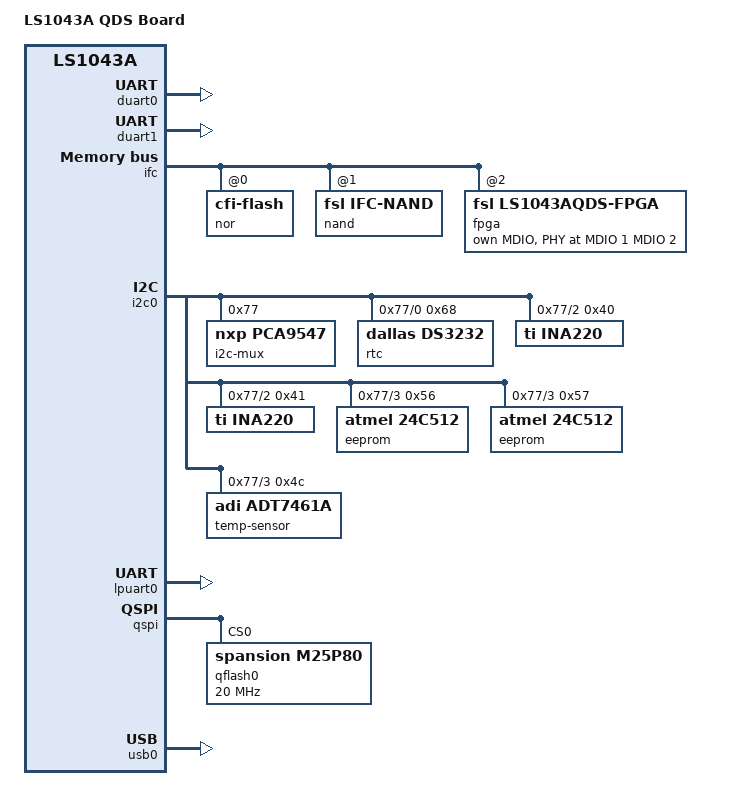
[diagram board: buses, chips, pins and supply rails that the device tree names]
// SPDX-License-Identifier: (GPL-2.0+ OR MIT)
/*
 * Device Tree Include file for Freescale Layerscape-1043A family SoC.
 *
 * Copyright 2014-2015 Freescale Semiconductor, Inc.
 * Copyright 2018-2021 NXP
 *
 * Mingkai Hu <Mingkai.hu@freescale.com>
 */

/dts-v1/;
#include "fsl-ls1043a.dtsi"

/ {
	model = "LS1043A QDS Board";
	compatible = "fsl,ls1043a-qds", "fsl,ls1043a";

	aliases {
		gpio0 = &gpio1;
		gpio1 = &gpio2;
		gpio2 = &gpio3;
		gpio3 = &gpio4;
		serial0 = &duart0;
		serial1 = &duart1;
		serial2 = &duart2;
		serial3 = &duart3;
		sgmii-riser-s1-p1 = &sgmii_phy_s1_p1;
		sgmii-riser-s2-p1 = &sgmii_phy_s2_p1;
		sgmii-riser-s3-p1 = &sgmii_phy_s3_p1;
		sgmii-riser-s4-p1 = &sgmii_phy_s4_p1;
		qsgmii-s1-p1 = &qsgmii_phy_s1_p1;
		qsgmii-s1-p2 = &qsgmii_phy_s1_p2;
		qsgmii-s1-p3 = &qsgmii_phy_s1_p3;
		qsgmii-s1-p4 = &qsgmii_phy_s1_p4;
		qsgmii-s2-p1 = &qsgmii_phy_s2_p1;
		qsgmii-s2-p2 = &qsgmii_phy_s2_p2;
		qsgmii-s2-p3 = &qsgmii_phy_s2_p3;
		qsgmii-s2-p4 = &qsgmii_phy_s2_p4;
		emi1-slot1 = &ls1043mdio_s1;
		emi1-slot2 = &ls1043mdio_s2;
		emi1-slot3 = &ls1043mdio_s3;
		emi1-slot4 = &ls1043mdio_s4;
	};

	chosen {
		stdout-path = "serial0:115200n8";
	};
};

&duart0 {
	status = "okay";
};

&duart1 {
	status = "okay";
};

&ifc {
	#address-cells = <2>;
	#size-cells = <1>;
	/* NOR, NAND Flashes and FPGA on board */
	ranges = <0x0 0x0 0x0 0x60000000 0x08000000
		  0x1 0x0 0x0 0x7e800000 0x00010000
		  0x2 0x0 0x0 0x7fb00000 0x00000100>;
	status = "okay";

	nor@0,0 {
		compatible = "cfi-flash";
		reg = <0x0 0x0 0x8000000>;
		big-endian;
		bank-width = <2>;
		device-width = <1>;
	};

	nand@1,0 {
		compatible = "fsl,ifc-nand";
		reg = <0x1 0x0 0x10000>;
	};

	fpga: board-control@2,0 {
		compatible = "fsl,ls1043aqds-fpga", "fsl,fpga-qixis", "simple-mfd";
		reg = <0x2 0x0 0x0000100>;
		#address-cells = <1>;
		#size-cells = <1>;
		ranges = <0 2 0 0x100>;
	};
};

&i2c0 {
	status = "okay";

	i2c-mux@77 {
		compatible = "nxp,pca9547";
		reg = <0x77>;
		#address-cells = <1>;
		#size-cells = <0>;

		i2c@0 {
			#address-cells = <1>;
			#size-cells = <0>;
			reg = <0x0>;

			rtc@68 {
				compatible = "dallas,ds3232";
				reg = <0x68>;
				/* IRQ10_B */
				interrupts = <0 150 0x4>;
			};
		};

		i2c@2 {
			#address-cells = <1>;
			#size-cells = <0>;
			reg = <0x2>;

			ina220@40 {
				compatible = "ti,ina220";
				reg = <0x40>;
				shunt-resistor = <1000>;
			};

			ina220@41 {
				compatible = "ti,ina220";
				reg = <0x41>;
				shunt-resistor = <1000>;
			};
		};

		i2c@3 {
			#address-cells = <1>;
			#size-cells = <0>;
			reg = <0x3>;

			eeprom@56 {
				compatible = "atmel,24c512";
				reg = <0x56>;
			};

			eeprom@57 {
				compatible = "atmel,24c512";
				reg = <0x57>;
			};

			temp-sensor@4c {
				compatible = "adi,adt7461a";
				reg = <0x4c>;
			};
		};
	};
};

&lpuart0 {
	status = "okay";
};

&qspi {
	status = "okay";

	qflash0: flash@0 {
		compatible = "spansion,m25p80";
		#address-cells = <1>;
		#size-cells = <1>;
		spi-max-frequency = <20000000>;
		spi-rx-bus-width = <4>;
		spi-tx-bus-width = <4>;
		reg = <0>;
	};
};

&usb0 {
	status = "okay";
};

#include "fsl-ls1043-post.dtsi"

&fman0 {
	ethernet@e0000 {
		phy-handle = <&qsgmii_phy_s2_p1>;
		phy-connection-type = "sgmii";
	};

	ethernet@e2000 {
		phy-handle = <&qsgmii_phy_s2_p2>;
		phy-connection-type = "sgmii";
	};

	ethernet@e4000 {
		phy-handle = <&rgmii_phy1>;
		phy-connection-type = "rgmii";
	};

	ethernet@e6000 {
		phy-handle = <&rgmii_phy2>;
		phy-connection-type = "rgmii";
	};

	ethernet@e8000 {
		phy-handle = <&qsgmii_phy_s2_p3>;
		phy-connection-type = "sgmii";
	};

	ethernet@ea000 {
		phy-handle = <&qsgmii_phy_s2_p4>;
		phy-connection-type = "sgmii";
	};

	ethernet@f0000 { /* DTSEC9/10GEC1 */
		fixed-link = <1 1 10000 0 0>;
		phy-connection-type = "xgmii";
	};
};

&fpga {
	mdio-mux-emi1@54 {
		compatible = "mdio-mux-mmioreg", "mdio-mux";
		mdio-parent-bus = <&mdio0>;
		#address-cells = <1>;
		#size-cells = <0>;
		reg = <0x54 1>;    /* BRDCFG4 */
		mux-mask = <0xe0>; /* EMI1 */

		/* On-board RGMII1 PHY */
		ls1043mdio0: mdio@0 {
			reg = <0>;
			#address-cells = <1>;
			#size-cells = <0>;

			rgmii_phy1: ethernet-phy@1 { /* MAC3 */
				reg = <0x1>;
			};
		};

		/* On-board RGMII2 PHY */
		ls1043mdio1: mdio@20 {
			reg = <0x20>;
			#address-cells = <1>;
			#size-cells = <0>;

			rgmii_phy2: ethernet-phy@2 { /* MAC4 */
				reg = <0x2>;
			};
		};

		/* Slot 1 */
		ls1043mdio_s1: mdio@40 {
			reg = <0x40>;
			#address-cells = <1>;
			#size-cells = <0>;
			status = "disabled";

			qsgmii_phy_s1_p1: ethernet-phy@4 {
				reg = <0x4>;
			};

			qsgmii_phy_s1_p2: ethernet-phy@5 {
				reg = <0x5>;
			};

			qsgmii_phy_s1_p3: ethernet-phy@6 {
				reg = <0x6>;
			};

			qsgmii_phy_s1_p4: ethernet-phy@7 {
				reg = <0x7>;
			};

			sgmii_phy_s1_p1: ethernet-phy@1c {
				reg = <0x1c>;
			};
		};

		/* Slot 2 */
		ls1043mdio_s2: mdio@60 {
			reg = <0x60>;
			#address-cells = <1>;
			#size-cells = <0>;
			status = "disabled";

			qsgmii_phy_s2_p1: ethernet-phy@8 {
				reg = <0x8>;
			};

			qsgmii_phy_s2_p2: ethernet-phy@9 {
				reg = <0x9>;
			};

			qsgmii_phy_s2_p3: ethernet-phy@a {
				reg = <0xa>;
			};

			qsgmii_phy_s2_p4: ethernet-phy@b {
				reg = <0xb>;
			};

			sgmii_phy_s2_p1: ethernet-phy@1c {
				reg = <0x1c>;
			};
		};

		/* Slot 3 */
		ls1043mdio_s3: mdio@80 {
			reg = <0x80>;
			#address-cells = <1>;
			#size-cells = <0>;
			status = "disabled";

			sgmii_phy_s3_p1: ethernet-phy@1c {
				reg = <0x1c>;
			};
		};

		/* Slot 4 */
		ls1043mdio_s4: mdio@a0 {
			reg = <0xa0>;
			#address-cells = <1>;
			#size-cells = <0>;
			status = "disabled";

			sgmii_phy_s4_p1: ethernet-phy@1c {
				reg = <0x1c>;
			};
		};
	};
};
